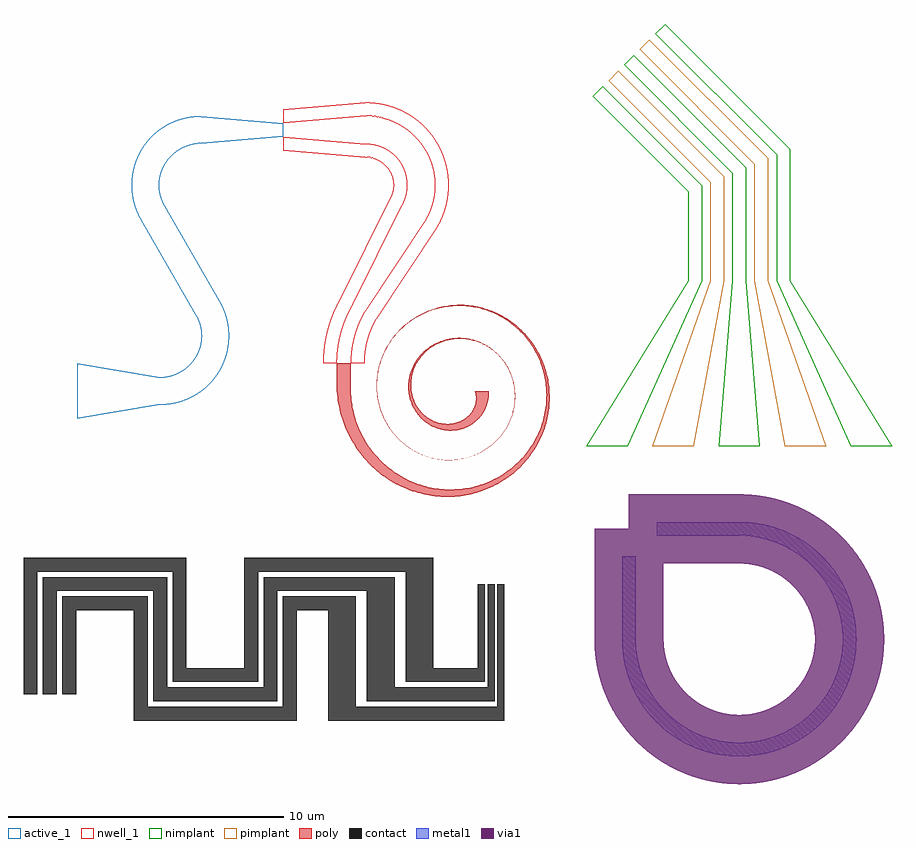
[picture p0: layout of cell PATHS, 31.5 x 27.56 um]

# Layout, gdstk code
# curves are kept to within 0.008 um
import gdstk
lib = gdstk.Library(unit=1e-6, precision=1e-09)
def R(c, l, rs):  # rectangles x0, y0, x1, y1
    for r in rs: c.add(gdstk.rectangle(r[:2], r[2:], *l))
def P(c, l, *ps):  # polygons
    for p in ps: c.add(gdstk.Polygon(p, *l))
active_1 = (1, 1)
nwell_1 = (2, 1)
poly = (3, 0)
nimplant = (4, 0)
pimplant = (5, 0)
contact = (6, 0)
metal1 = (7, 0)
via1 = (8, 0)

paths = lib.new_cell('PATHS')
P(paths, active_1, [(0,0.5),(0,-0.5),(0,-1),(0,1)],
  [(0,1),(0,-1),(3,-0.5),(3,0.5)],
  [(3,-0.5),(3.19,-0.493),(3.459,-0.458),(3.674,-0.408),(3.855,-0.349),(3.513,0.59),(3.29,0.528),(3,0.5)],
  [(3.855,-0.349),(4.059,-0.265),(4.246,-0.168),(4.44,-0.044),(4.607,0.085),(3.964,0.851),(3.761,0.707),(3.513,0.59)],
  [(4.607,0.085),(4.77,0.234),(4.912,0.389),(5.058,0.58),(5.165,0.75),(4.299,1.25),(4.153,1.04),(3.964,0.851)],
  [(5.165,0.75),(5.25,0.909),(5.348,1.14),(5.412,1.341),(5.462,1.566),(4.477,1.74),(4.414,1.498),(4.299,1.25)],
  [(5.462,1.566),(5.5,1.955),(5.492,2.205),(5.462,2.434),(4.477,2.26),(4.5,2.037),(4.477,1.74)],
  [(5.462,2.434),(5.412,2.659),(5.348,2.86),(5.25,3.091),(5.165,3.25),(4.299,2.75),(4.414,2.502),(4.477,2.26)],
  [(4.299,2.75),(5.165,3.25),(3.165,6.714),(2.299,6.214)],
  [(2.299,6.214),(2.197,6.41),(2.106,6.633),(2.047,6.824),(2.002,7.03),(2.987,7.204),(3.048,6.968),(3.165,6.714)],
  [(2.002,7.03),(1.973,7.249),(1.964,7.429),(1.973,7.679),(2.002,7.898),(2.987,7.725),(2.964,7.495),(2.987,7.204)],
  [(2.002,7.898),(2.047,8.104),(2.106,8.296),(2.214,8.555),(2.299,8.714),(3.165,8.214),(3.05,7.966),(2.987,7.725)],
  [(2.299,8.714),(2.406,8.884),(2.539,9.06),(2.673,9.209),(2.857,9.379),(3.5,8.613),(3.311,8.424),(3.165,8.214)],
  [(2.857,9.379),(3.024,9.508),(3.192,9.617),(3.396,9.725),(3.609,9.813),(3.951,8.874),(3.698,8.754),(3.5,8.613)],
  [(3.609,9.813),(3.819,9.88),(4.005,9.922),(4.224,9.953),(4.464,9.964),(4.464,8.964),(4.168,8.935),(3.951,8.874)],
  [(4.464,9.964),(4.464,8.964),(7.464,9.214),(7.464,9.714)])
P(paths, nwell_1, [(7.464,10.214),(7.464,9.714),(10.464,9.964),(10.464,10.464)],
  [(7.464,9.214),(7.464,8.714),(10.464,8.464),(10.464,8.964)],
  [(10.464,8.964),(10.705,8.945),(10.906,8.897),(10.759,8.42),(10.627,8.451),(10.464,8.464)],
  [(10.464,10.464),(10.716,10.454),(10.936,10.427),(11.348,10.331),(11.201,9.853),(10.854,9.934),(10.464,9.964)],
  [(10.906,8.897),(11.113,8.817),(11.309,8.703),(11.027,8.29),(10.895,8.367),(10.759,8.42)],
  [(11.348,10.331),(11.53,10.269),(11.752,10.174),(11.958,10.066),(12.154,9.943),(11.872,9.53),(11.549,9.717),(11.201,9.853)],
  [(11.309,8.703),(11.49,8.559),(11.637,8.399),(11.246,8.088),(11.132,8.209),(11.027,8.29)],
  [(12.154,9.943),(12.494,9.674),(12.679,9.488),(12.81,9.335),(12.419,9.023),(12.165,9.297),(11.872,9.53)],
  [(11.637,8.399),(11.767,8.208),(11.86,8.012),(11.395,7.829),(11.322,7.979),(11.246,8.088)],
  [(12.81,9.335),(12.913,9.198),(13.065,8.96),(13.164,8.773),(13.257,8.56),(12.791,8.377),(12.717,8.549),(12.621,8.729),(12.419,9.023)],
  [(11.86,8.012),(11.924,7.81),(11.96,7.576),(11.461,7.539),(11.441,7.68),(11.395,7.829)],
  [(13.257,8.56),(13.388,8.137),(13.425,7.949),(13.456,7.688),(12.957,7.651),(12.9,8.029),(12.791,8.377)],
  [(11.96,7.576),(11.96,7.349),(11.926,7.13),(11.439,7.242),(11.462,7.393),(11.461,7.539)],
  [(13.456,7.688),(13.464,7.406),(13.455,7.225),(13.389,6.797),(12.901,6.908),(12.958,7.286),(12.957,7.651)],
  [(11.926,7.13),(11.869,6.937),(11.763,6.714),(11.33,6.964),(11.399,7.108),(11.439,7.242)],
  [(13.389,6.797),(13.332,6.582),(13.259,6.373),(13.162,6.151),(13.062,5.964),(12.629,6.214),(12.779,6.519),(12.851,6.719),(12.901,6.908)],
  [(13.062,5.964),(12.629,6.214),(10.413,2.875),(10.846,2.625)],
  [(11.763,6.714),(11.33,6.964),(9.547,3.375),(9.98,3.125)],
  [(10.413,2.875),(10.258,2.578),(10.136,2.283),(10.606,2.112),(10.697,2.336),(10.846,2.625)],
  [(9.547,3.375),(9.338,2.971),(9.197,2.625),(9.667,2.454),(9.808,2.796),(9.98,3.125)],
  [(10.136,2.283),(10.044,1.994),(9.967,1.651),(10.46,1.564),(10.517,1.828),(10.606,2.112)],
  [(9.197,2.625),(9.077,2.249),(8.982,1.825),(9.475,1.738),(9.557,2.109),(9.667,2.454)],
  [(9.967,1.651),(9.927,1.359),(9.91,1),(10.41,1),(10.424,1.304),(10.46,1.564)],
  [(8.982,1.825),(8.927,1.404),(8.91,1),(9.41,1),(9.426,1.37),(9.475,1.738)])
R(paths, poly, [(9.41,0,9.91,1)])
P(paths, poly, [(9.91,0),(9.93,-0.3),(9.957,-0.498),(10.016,-0.791),(10.069,-0.983),(10.244,-1.447),(10.48,-1.882),(10.77,-2.28),(10.968,-2.498),(11.183,-2.698),(11.413,-2.881),(11.574,-2.991),(11.824,-3.141),(11.998,-3.229),(12.448,-3.406),(12.916,-3.521),(13.393,-3.572),(13.87,-3.558),(14.152,-3.52),(14.338,-3.481),(14.612,-3.405),(14.878,-3.308),(15.134,-3.19),(15.379,-3.052),(15.612,-2.895),(15.83,-2.721),(15.944,-2.863),(15.559,-3.17),(15.307,-3.329),(15.043,-3.468),(14.767,-3.587),(14.48,-3.683),(14.285,-3.735),(13.985,-3.793),(13.681,-3.827),(13.476,-3.836),(13.167,-3.829),(12.857,-3.797),(12.652,-3.762),(12.347,-3.689),(12.048,-3.591),(11.755,-3.468),(11.472,-3.322),(11.2,-3.153),(10.941,-2.962),(10.697,-2.749),(10.469,-2.517),(10.26,-2.265),(10.07,-1.997),(9.902,-1.712),(9.713,-1.311),(9.566,-0.889),(9.465,-0.45),(9.41,0)],
  [(15.83,-2.721),(16.159,-2.395),(16.44,-2.029),(16.584,-1.794),(16.668,-1.631),(16.84,-1.209),(16.953,-0.77),(17.006,-0.323),(16.998,0.125),(16.965,0.39),(16.91,0.651),(16.775,1.071),(16.585,1.467),(16.447,1.689),(16.292,1.899),(15.999,2.217),(15.669,2.492),(15.308,2.718),(15.079,2.829),(14.843,2.921),(14.601,2.993),(14.355,3.045),(14.364,3.083),(14.614,3.033),(14.86,2.963),(15.257,2.801),(15.486,2.678),(15.705,2.537),(16.046,2.261),(16.233,2.074),(16.405,1.871),(16.656,1.502),(16.857,1.099),(17.004,0.67),(17.064,0.402),(17.103,0.129),(17.121,-0.148),(17.116,-0.427),(17.088,-0.706),(17.039,-0.983),(16.906,-1.437),(16.797,-1.701),(16.618,-2.04),(16.46,-2.282),(16.282,-2.512),(16.153,-2.658),(15.944,-2.863)],
  [(14.355,3.045),(14.273,3.058),(14.107,3.077),(13.941,3.087),(13.859,3.089),(13.693,3.086),(13.529,3.074),(13.366,3.053),(13.285,3.039),(13.125,3.006),(13.046,2.986),(12.889,2.939),(12.813,2.913),(12.661,2.855),(12.514,2.788),(12.442,2.752),(12.301,2.675),(12.165,2.59),(12.099,2.545),(11.971,2.45),(11.848,2.349),(11.789,2.296),(11.676,2.185),(11.621,2.128),(11.569,2.069),(11.468,1.948),(11.421,1.886),(11.331,1.758),(11.289,1.692),(11.21,1.558),(11.139,1.42),(11.107,1.35),(11.076,1.279),(11.02,1.135),(10.973,0.989),(10.952,0.915),(10.917,0.767),(10.889,0.617),(10.87,0.466),(10.864,0.391),(10.859,0.316),(10.856,0.165),(10.861,0.015),(10.874,-0.134),(10.884,-0.208),(10.909,-0.355),(10.924,-0.427),(10.961,-0.571),(10.982,-0.641),(11.005,-0.711),(11.056,-0.849),(11.115,-0.983),(11.214,-1.178),(11.145,-1.05),(11.113,-0.984),(11.054,-0.85),(11.003,-0.712),(10.98,-0.642),(10.958,-0.571),(10.922,-0.428),(10.892,-0.282),(10.881,-0.208),(10.863,-0.06),(10.857,0.015),(10.853,0.09),(10.852,0.241),(10.858,0.392),(10.873,0.543),(10.883,0.618),(10.91,0.768),(10.945,0.918),(10.988,1.065),(11.013,1.138),(11.068,1.283),(11.099,1.354),(11.131,1.424),(11.202,1.563),(11.28,1.698),(11.366,1.83),(11.412,1.894),(11.459,1.957),(11.559,2.079),(11.666,2.196),(11.779,2.308),(11.838,2.361),(11.961,2.464),(12.024,2.513),(12.089,2.56),(12.223,2.65),(12.362,2.733),(12.433,2.771),(12.579,2.843),(12.729,2.907),(12.883,2.963),(12.961,2.988),(13.04,3.011),(13.2,3.051),(13.363,3.082),(13.527,3.104),(13.61,3.112),(13.777,3.122),(13.861,3.123),(14.029,3.119),(14.112,3.113),(14.196,3.105),(14.364,3.083)],
  [(11.215,-1.177),(11.252,-1.24),(11.291,-1.301),(11.331,-1.362),(11.372,-1.421),(11.415,-1.479),(11.46,-1.535),(11.505,-1.59),(11.553,-1.644),(11.601,-1.697),(11.651,-1.748),(11.702,-1.797),(11.755,-1.846),(11.808,-1.892),(11.863,-1.937),(11.919,-1.981),(11.975,-2.023),(12.033,-2.063),(12.092,-2.102),(12.151,-2.139),(12.212,-2.174),(12.273,-2.207),(12.335,-2.239),(12.398,-2.269),(12.461,-2.298),(12.525,-2.324),(12.59,-2.349),(12.655,-2.372),(12.721,-2.394),(12.787,-2.413),(12.853,-2.431),(12.92,-2.447),(12.987,-2.461),(13.054,-2.473),(13.121,-2.483),(13.189,-2.492),(13.256,-2.498),(13.324,-2.503),(13.391,-2.506),(13.459,-2.507),(13.526,-2.507),(13.593,-2.504),(13.66,-2.5),(13.727,-2.494),(13.793,-2.486),(13.859,-2.477),(13.925,-2.465),(13.99,-2.452),(14.054,-2.438),(14.118,-2.421),(14.182,-2.403),(14.245,-2.383),(14.307,-2.362),(14.368,-2.339),(14.429,-2.315),(14.489,-2.288),(14.548,-2.261),(14.606,-2.231),(14.663,-2.201),(14.719,-2.169),(14.774,-2.135),(14.828,-2.1),(14.881,-2.064),(14.933,-2.026),(14.984,-1.987),(15.034,-1.947),(15.082,-1.905),(15.129,-1.863),(15.175,-1.819),(15.22,-1.774),(15.263,-1.728),(15.305,-1.681),(15.346,-1.633),(15.385,-1.583),(15.423,-1.533),(15.459,-1.483),(15.494,-1.431),(15.528,-1.378),(15.56,-1.325),(15.59,-1.271),(15.619,-1.216),(15.646,-1.161),(15.672,-1.105),(15.696,-1.048),(15.719,-0.991),(15.72,-0.992),(15.698,-1.049),(15.673,-1.106),(15.647,-1.161),(15.62,-1.217),(15.591,-1.271),(15.56,-1.325),(15.528,-1.379),(15.495,-1.431),(15.46,-1.483),(15.424,-1.534),(15.386,-1.584),(15.346,-1.633),(15.306,-1.681),(15.264,-1.728),(15.22,-1.774),(15.176,-1.819),(15.13,-1.863),(15.082,-1.906),(15.034,-1.947),(14.984,-1.987),(14.933,-2.026),(14.881,-2.064),(14.828,-2.1),(14.774,-2.135),(14.719,-2.169),(14.663,-2.201),(14.606,-2.232),(14.548,-2.261),(14.489,-2.288),(14.429,-2.315),(14.368,-2.339),(14.307,-2.362),(14.245,-2.383),(14.182,-2.403),(14.118,-2.421),(14.054,-2.438),(13.99,-2.452),(13.925,-2.465),(13.859,-2.477),(13.793,-2.486),(13.727,-2.494),(13.66,-2.5),(13.593,-2.504),(13.526,-2.507),(13.459,-2.507),(13.391,-2.506),(13.324,-2.503),(13.256,-2.498),(13.189,-2.492),(13.121,-2.483),(13.054,-2.473),(12.987,-2.461),(12.92,-2.447),(12.853,-2.431),(12.787,-2.413),(12.721,-2.394),(12.655,-2.372),(12.59,-2.349),(12.525,-2.325),(12.461,-2.298),(12.398,-2.27),(12.335,-2.239),(12.273,-2.208),(12.212,-2.174),(12.151,-2.139),(12.092,-2.102),(12.033,-2.063),(11.975,-2.023),(11.918,-1.981),(11.863,-1.938),(11.808,-1.892),(11.754,-1.846),(11.702,-1.798),(11.651,-1.748),(11.601,-1.697),(11.552,-1.645),(11.505,-1.591),(11.459,-1.536),(11.414,-1.479),(11.371,-1.421),(11.33,-1.362),(11.29,-1.302),(11.251,-1.241),(11.214,-1.178)],
  [(15.719,-0.991),(15.74,-0.934),(15.777,-0.818),(15.794,-0.759),(15.808,-0.7),(15.821,-0.641),(15.842,-0.523),(15.857,-0.403),(15.862,-0.344),(15.867,-0.225),(15.865,-0.106),(15.862,-0.047),(15.851,0.07),(15.834,0.186),(15.81,0.301),(15.781,0.413),(15.764,0.468),(15.746,0.523),(15.705,0.631),(15.658,0.735),(15.633,0.786),(15.579,0.886),(15.519,0.983),(15.488,1.029),(15.421,1.12),(15.35,1.206),(15.275,1.288),(15.236,1.327),(15.155,1.402),(15.114,1.438),(15.071,1.472),(14.938,1.568),(14.8,1.652),(14.656,1.724),(14.507,1.784),(14.407,1.816),(14.305,1.843),(14.203,1.865),(14.049,1.886),(13.894,1.895),(13.792,1.894),(13.741,1.891),(13.64,1.882),(13.54,1.867),(13.491,1.858),(13.394,1.835),(13.346,1.822),(13.251,1.791),(13.243,1.83),(13.339,1.859),(13.388,1.871),(13.538,1.901),(13.691,1.919),(13.794,1.924),(13.95,1.921),(14.054,1.912),(14.21,1.888),(14.313,1.865),(14.364,1.851),(14.466,1.82),(14.566,1.783),(14.616,1.762),(14.714,1.717),(14.762,1.692),(14.856,1.639),(14.902,1.61),(14.993,1.549),(15.037,1.516),(15.165,1.411),(15.206,1.374),(15.284,1.295),(15.359,1.212),(15.43,1.125),(15.496,1.034),(15.527,0.987),(15.614,0.84),(15.665,0.738),(15.711,0.633),(15.752,0.525),(15.77,0.47),(15.802,0.358),(15.828,0.244),(15.838,0.187),(15.855,0.07),(15.866,-0.047),(15.869,-0.106),(15.87,-0.225),(15.865,-0.344),(15.86,-0.404),(15.845,-0.523),(15.835,-0.583),(15.81,-0.701),(15.779,-0.818),(15.761,-0.877)],
  [(13.251,1.791),(13.026,1.695),(12.859,1.597),(12.706,1.484),(12.535,1.322),(12.39,1.141),(12.274,0.945),(12.186,0.739),(12.128,0.527),(12.104,0.355),(12.1,0.142),(12.125,-0.066),(12.178,-0.264),(12.273,-0.485),(12.425,-0.713),(12.584,-0.877),(12.826,-1.046),(12.713,-1.188),(12.549,-1.065),(12.374,-0.887),(12.228,-0.681),(12.114,-0.45),(12.048,-0.243),(12.009,-0.026),(11.999,0.196),(12.027,0.466),(12.084,0.688),(12.192,0.945),(12.314,1.146),(12.464,1.332),(12.639,1.498),(12.837,1.641),(13.148,1.796),(13.243,1.83)],
  [(12.826,-1.046),(13.056,-1.143),(13.225,-1.182),(13.36,-1.196),(13.526,-1.193),(13.654,-1.173),(13.806,-1.13),(13.919,-1.082),(14.073,-0.988),(14.203,-0.874),(14.308,-0.744),(14.385,-0.604),(14.435,-0.458),(14.458,-0.289),(14.446,-0.127),(14.41,0),(14.91,0),(14.91,-0.202),(14.885,-0.37),(14.825,-0.568),(14.733,-0.757),(14.634,-0.903),(14.488,-1.062),(14.348,-1.176),(14.158,-1.289),(13.914,-1.382),(13.729,-1.42),(13.499,-1.434),(13.266,-1.41),(13.113,-1.374),(12.962,-1.32),(12.713,-1.188)])
P(paths, nimplant, [(18.692,10.692),(22.15,7.234),(22.15,4),(18.45,-2),(19.95,-2),(22.65,4),(22.65,7.441),(19.045,11.045)],
  [(19.823,11.823),(23.75,7.896),(23.75,4),(23.25,-2),(24.75,-2),(24.25,4),(24.25,8.104),(20.177,12.177)],
  [(20.955,12.955),(25.35,8.559),(25.35,4),(28.05,-2),(29.55,-2),(25.85,4),(25.85,8.766),(21.308,13.308)])
P(paths, pimplant, [(19.258,11.258),(22.95,7.565),(22.95,4),(20.85,-2),(22.35,-2),(23.45,4),(23.45,7.772),(19.611,11.611)],
  [(20.389,12.389),(24.55,8.228),(24.55,4),(25.65,-2),(27.15,-2),(25.05,4),(25.05,8.435),(20.742,12.742)])
P(paths, contact, [(-0.05,-11),(-0.05,-7.95),(2.05,-7.95),(2.05,-11.95),(7.95,-11.95),(7.95,-7.95),(9.1,-7.95),(9.1,-11.95),(15.475,-11.95),(15.475,-7),(15.225,-7),(15.225,-11.45),(10.1,-11.45),(10.1,-7.45),(7.45,-7.45),(7.45,-11.45),(2.55,-11.45),(2.55,-7.45),(-0.55,-7.45),(-0.55,-11)],
  [(-0.75,-11),(-0.75,-7.25),(2.75,-7.25),(2.75,-11.25),(7.25,-11.25),(7.25,-7.25),(10.5,-7.25),(10.5,-11.25),(15.125,-11.25),(15.125,-7),(14.875,-7),(14.875,-10.75),(11.5,-10.75),(11.5,-6.75),(6.75,-6.75),(6.75,-10.75),(3.25,-10.75),(3.25,-6.75),(-1.25,-6.75),(-1.25,-11)],
  [(-1.45,-11),(-1.45,-6.55),(3.45,-6.55),(3.45,-10.55),(6.55,-10.55),(6.55,-6.55),(11.9,-6.55),(11.9,-10.55),(14.775,-10.55),(14.775,-7),(14.525,-7),(14.525,-10.05),(12.9,-10.05),(12.9,-6.05),(6.05,-6.05),(6.05,-10.05),(3.95,-10.05),(3.95,-6.05),(-1.95,-6.05),(-1.95,-11)])
R(paths, metal1, [(19.75,-9,20.25,-6), (21,-5.25,24,-4.75)])
P(paths, metal1, [(24,-4.75),(24.491,-4.778),(24.946,-4.857),(24.834,-5.344),(24.447,-5.277),(24,-5.25)],
  [(24.946,-4.857),(25.418,-4.993),(25.844,-5.171),(25.627,-5.621),(25.239,-5.46),(24.834,-5.344)],
  [(25.844,-5.171),(26.274,-5.409),(26.65,-5.677),(26.338,-6.068),(25.988,-5.82),(25.627,-5.621)],
  [(26.65,-5.677),(26.995,-5.984),(27.323,-6.35),(26.932,-6.662),(26.671,-6.367),(26.338,-6.068)],
  [(27.323,-6.35),(27.591,-6.726),(27.829,-7.156),(27.379,-7.373),(27.18,-7.012),(26.932,-6.662)],
  [(27.829,-7.156),(28.007,-7.582),(28.143,-8.054),(27.656,-8.166),(27.54,-7.761),(27.379,-7.373)],
  [(28.143,-8.054),(28.222,-8.509),(28.25,-9),(27.75,-9),(27.723,-8.553),(27.656,-8.166)],
  [(28.25,-9),(28.226,-9.456),(28.143,-9.946),(27.656,-9.834),(27.723,-9.447),(27.75,-9)],
  [(28.143,-9.946),(28.012,-10.404),(27.829,-10.844),(27.379,-10.627),(27.54,-10.239),(27.656,-9.834)],
  [(27.829,-10.844),(27.599,-11.261),(27.323,-11.65),(26.932,-11.338),(27.18,-10.988),(27.379,-10.627)],
  [(27.323,-11.65),(27.027,-11.984),(26.65,-12.323),(26.338,-11.932),(26.633,-11.671),(26.932,-11.338)],
  [(26.65,-12.323),(26.261,-12.599),(25.844,-12.829),(25.627,-12.379),(25.988,-12.18),(26.338,-11.932)],
  [(25.844,-12.829),(25.404,-13.012),(24.946,-13.143),(24.834,-12.656),(25.239,-12.54),(25.627,-12.379)],
  [(24.946,-13.143),(24.456,-13.226),(24,-13.25),(24,-12.75),(24.447,-12.723),(24.834,-12.656)],
  [(24,-13.25),(23.544,-13.226),(23.054,-13.143),(23.166,-12.656),(23.553,-12.723),(24,-12.75)],
  [(23.054,-13.143),(22.596,-13.012),(22.156,-12.829),(22.373,-12.379),(22.761,-12.54),(23.166,-12.656)],
  [(22.156,-12.829),(21.739,-12.599),(21.35,-12.323),(21.662,-11.932),(22.012,-12.18),(22.373,-12.379)],
  [(21.35,-12.323),(21.016,-12.027),(20.677,-11.65),(21.068,-11.338),(21.329,-11.633),(21.662,-11.932)],
  [(20.677,-11.65),(20.401,-11.261),(20.171,-10.844),(20.621,-10.627),(20.82,-10.988),(21.068,-11.338)],
  [(20.171,-10.844),(19.988,-10.404),(19.857,-9.946),(20.344,-9.834),(20.46,-10.239),(20.621,-10.627)],
  [(19.857,-9.946),(19.774,-9.456),(19.75,-9),(20.25,-9),(20.277,-9.447),(20.344,-9.834)])
P(paths, via1, [(18.75,-9.001),(18.759,-9.313),(18.79,-9.65),(18.845,-9.997),(18.927,-10.351),(21.272,-10.351),(21.272,-9.344),(21.25,-8.999)],
  [(21.605,-10.351),(21.473,-10.086),(21.387,-9.859),(21.317,-9.606),(21.272,-9.344),(21.272,-10.351)],
  [(26.604,-9.883),(26.503,-10.14),(26.395,-10.351),(26.606,-10.351)],
  [(24.766,-3.806),(24.347,-3.761),(24.062,-3.75),(20,-3.75),(20,-5),(18.75,-5),(18.75,-8.999),(21.25,-8.999),(21.25,-6.25),(24.085,-6.251),(24.464,-6.289),(24.778,-6.362),(24.778,-3.808)],
  [(25.516,-3.974),(25.132,-3.873),(24.778,-3.808),(24.778,-6.362),(25.164,-6.508),(25.517,-6.706)],
  [(25.968,-7.079),(26.15,-7.285),(26.353,-7.576),(26.492,-7.836),(26.606,-8.123),(26.606,-7.076)],
  [(26.596,-4.437),(26.334,-4.297),(26.075,-4.177),(25.787,-4.063),(25.517,-3.974),(25.517,-6.706),(25.735,-6.866),(25.965,-7.076),(26.606,-7.076),(26.606,-4.443)],
  [(26.654,-8.281),(26.683,-8.394),(26.711,-8.536),(26.736,-8.718),(26.747,-8.872),(26.747,-8.281)],
  [(26.747,-9.131),(26.704,-9.503),(26.606,-9.877),(26.606,-10.351),(26.747,-10.351)],
  [(19.644,-11.93),(19.864,-12.234),(20.106,-12.522),(20.386,-12.809),(20.702,-13.085),(20.702,-11.925)],
  [(20.707,-13.089),(20.977,-13.293),(21.346,-13.53),(21.688,-13.714),(22.035,-13.868),(22.035,-11.925),(20.702,-11.925)],
  [(18.93,-10.363),(19.04,-10.722),(19.196,-11.119),(19.354,-11.446),(19.558,-11.798),(19.558,-10.351),(18.927,-10.351)],
  [(19.561,-11.804),(19.64,-11.925),(22.035,-11.925),(22.035,-10.924),(21.79,-10.637),(21.605,-10.351),(19.558,-10.351)],
  [(22.457,-14.018),(22.868,-14.127),(23.226,-14.193),(23.624,-14.237),(24.003,-14.25),(24.003,-14.016)],
  [(22.043,-13.872),(22.451,-14.016),(24.003,-14.016),(24.003,-11.75),(23.718,-11.736),(23.443,-11.693),(22.035,-11.693)],
  [(22.678,-11.412),(22.363,-11.21),(22.155,-11.04),(22.035,-10.924),(22.035,-11.693),(22.681,-11.693)],
  [(23.439,-11.692),(23.267,-11.651),(23.036,-11.576),(22.681,-11.413),(22.681,-11.693)],
  [(24.013,-14.25),(24.376,-14.237),(24.774,-14.193),(25.18,-14.116),(25.561,-14.012),(24.003,-14.012),(24.003,-14.25)],
  [(25.567,-14.011),(25.974,-13.865),(25.974,-11.69),(24.57,-11.69),(24.282,-11.736),(24.003,-11.75),(24.003,-14.012)],
  [(25.333,-11.405),(24.964,-11.576),(24.57,-11.69),(25.336,-11.69)],
  [(25.974,-10.914),(25.845,-11.04),(25.658,-11.194),(25.336,-11.404),(25.336,-11.69),(25.974,-11.69)],
  [(25.98,-13.862),(26.312,-13.714),(26.708,-13.498),(27.023,-13.293),(27.317,-13.069),(27.317,-11.925),(25.974,-11.925)],
  [(27.322,-13.065),(27.614,-12.809),(27.894,-12.522),(28.136,-12.234),(28.36,-11.925),(27.317,-11.925)],
  [(28.363,-11.919),(28.462,-11.767),(28.462,-10.351),(26.395,-10.351),(26.222,-10.621),(25.974,-10.914),(25.974,-11.925)],
  [(28.465,-11.761),(28.646,-11.446),(28.824,-11.073),(28.96,-10.722),(29.073,-10.351),(28.462,-10.351)],
  [(29.076,-10.339),(29.155,-9.997),(29.209,-9.653),(29.201,-8.281),(26.747,-8.281),(26.747,-10.351),(29.073,-10.351)],
  [(29.21,-9.65),(29.23,-9.463),(29.241,-9.313),(29.249,-9.125),(29.25,-8.938),(29.239,-8.653),(29.209,-8.347)],
  [(28.866,-7.028),(28.664,-6.589),(28.432,-6.186),(26.606,-6.186),(26.606,-8.123),(26.654,-8.281),(28.868,-8.281)],
  [(29.199,-8.271),(29.145,-7.953),(29.071,-7.639),(28.966,-7.295),(28.868,-7.034),(28.868,-8.281),(29.201,-8.281)],
  [(27.619,-5.197),(27.417,-5.014),(27.136,-4.789),(26.851,-4.591),(26.606,-4.443),(26.606,-6.186),(27.624,-6.186)],
  [(28.429,-6.181),(28.255,-5.924),(28.066,-5.678),(27.863,-5.444),(27.624,-5.201),(27.624,-6.186)])

lib.write_gds('PATHS.gds')
